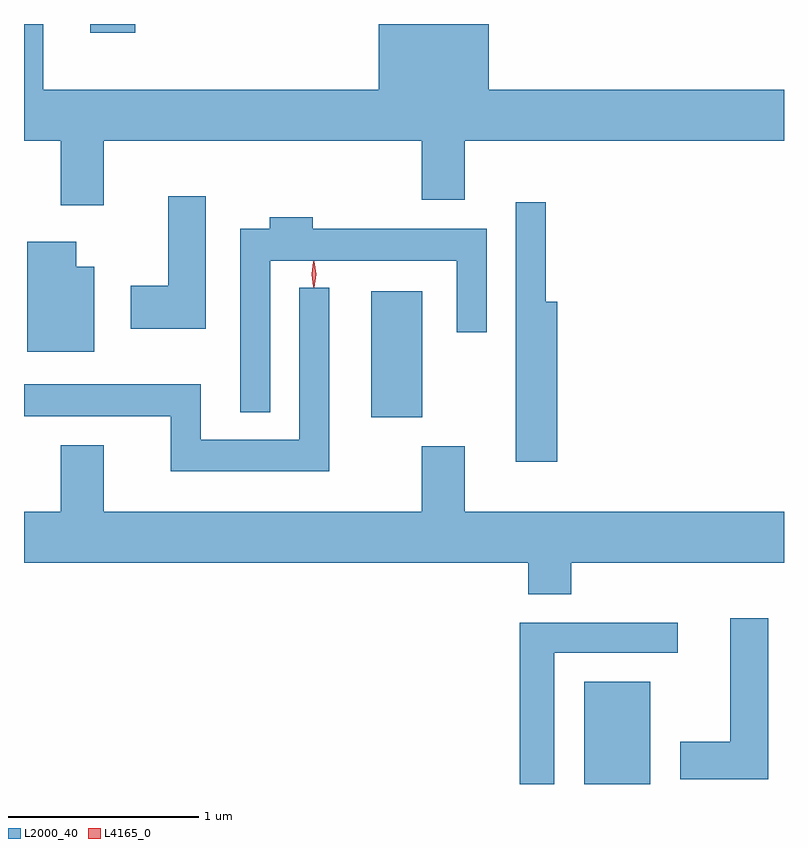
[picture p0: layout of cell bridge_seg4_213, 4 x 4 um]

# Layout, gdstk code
import gdstk
lib = gdstk.Library(unit=1e-6, precision=1e-09)
def R(c, l, rs):  # rectangles x0, y0, x1, y1
    for r in rs: c.add(gdstk.rectangle(r[:2], r[2:], *l))
def P(c, l, *ps):  # polygons
    for p in ps: c.add(gdstk.Polygon(p, *l))
L2000_40 = (2000, 40)
L4165_0 = (4165, 0)

bridge_seg4_213 = lib.new_cell('bridge_seg4_213')
R(bridge_seg4_213, L2000_40, [(985.976,1313.551,986.324,1314.089), (984.856,1315.481,985.124,1316.144), (983.376,1317.506,983.614,1317.551)])
P(bridge_seg4_213, L2000_40, [(983.449,1316.936),(985.121,1316.936),(985.121,1316.626),(985.349,1316.626),(985.349,1316.936),(987.028,1316.936),(987.028,1317.204),(985.474,1317.204),(985.474,1317.551),(984.896,1317.551),(984.896,1317.204),(983.129,1317.204),(983.129,1317.551),(983.028,1317.551),(983.028,1316.936),(983.221,1316.936),(983.221,1316.596),(983.449,1316.596)],
  [(983.984,1316.644),(983.786,1316.644),(983.786,1316.174),(983.591,1316.174),(983.591,1315.946),(983.984,1315.946)],
  [(985.834,1316.089),(985.774,1316.089),(985.774,1316.613),(985.616,1316.613),(985.616,1315.246),(985.834,1315.246)],
  [(984.324,1316.306),(985.306,1316.306),(985.306,1315.928),(985.464,1315.928),(985.464,1316.474),(984.549,1316.474),(984.549,1316.534),(984.321,1316.534),(984.321,1316.474),(984.166,1316.474),(984.166,1315.508),(984.324,1315.508)],
  [(983.399,1316.274),(983.304,1316.274),(983.304,1316.404),(983.046,1316.404),(983.046,1315.826),(983.399,1315.826)],
  [(984.634,1316.163),(984.476,1316.163),(984.476,1315.364),(983.959,1315.364),(983.959,1315.654),(983.028,1315.654),(983.028,1315.486),(983.801,1315.486),(983.801,1315.196),(984.634,1315.196)],
  [(985.909,1314.716),(987.028,1314.716),(987.028,1314.984),(985.349,1314.984),(985.349,1315.329),(985.121,1315.329),(985.121,1314.984),(983.449,1314.984),(983.449,1315.334),(983.221,1315.334),(983.221,1314.984),(983.028,1314.984),(983.028,1314.716),(985.681,1314.716),(985.681,1314.551),(985.909,1314.551)],
  [(986.944,1314.424),(986.746,1314.424),(986.746,1313.774),(986.481,1313.774),(986.481,1313.576),(986.944,1313.576)],
  [(985.819,1314.241),(986.468,1314.241),(986.468,1314.399),(985.636,1314.399),(985.636,1313.551),(985.819,1313.551)])
P(bridge_seg4_213, L4165_0, [(984.551,1316.167),(984.542,1316.234),(984.551,1316.3),(984.552,1316.301),(984.552,1316.3),(984.562,1316.234),(984.552,1316.167),(984.552,1316.167)],
  [(984.554,1316.164),(984.545,1316.233),(984.554,1316.302),(984.555,1316.303),(984.555,1316.302),(984.565,1316.233),(984.555,1316.164),(984.555,1316.164)])

lib.write_gds('bridge_seg4_213.gds')
